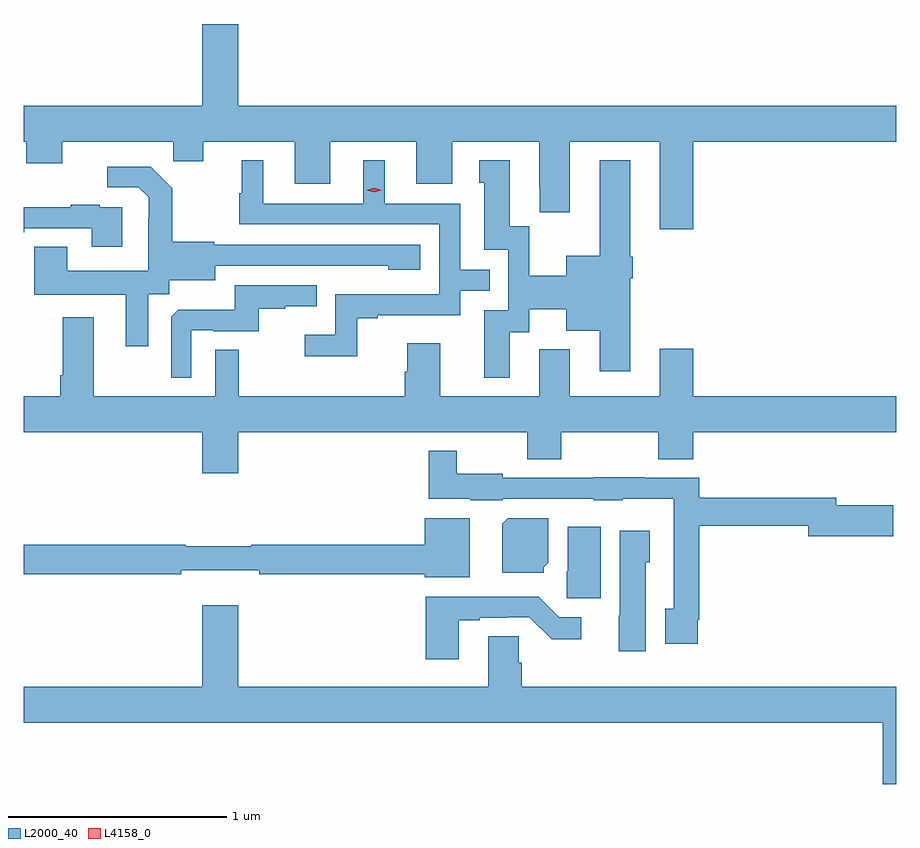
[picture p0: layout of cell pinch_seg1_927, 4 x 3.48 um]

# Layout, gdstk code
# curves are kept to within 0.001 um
import gdstk
lib = gdstk.Library(unit=1e-6, precision=1e-09)
def P(c, l, *ps):  # polygons
    for p in ps: c.add(gdstk.Polygon(p, *l))
L2000_40 = (2000, 40)
L4158_0 = (4158, 0)

pinch_seg1_927 = lib.new_cell('pinch_seg1_927')
P(pinch_seg1_927, L2000_40, [(167.258,559.724),(168.189,559.724),(168.189,559.888),(165.172,559.888),(165.172,560.263),(165.008,560.263),(165.008,559.888),(164.189,559.888),(164.189,559.724),(164.201,559.724),(164.201,559.625),(164.365,559.625),(164.365,559.724),(164.875,559.724),(164.875,559.634),(165.013,559.634),(165.013,559.724),(165.431,559.724),(165.431,559.53),(165.595,559.53),(165.595,559.724),(165.989,559.724),(165.989,559.53),(166.153,559.53),(166.153,559.724),(166.553,559.724),(166.553,559.513),(166.554,559.513),(166.554,559.401),(166.693,559.401),(166.693,559.724),(167.105,559.724),(167.105,559.323),(167.258,559.323)],
  [(166.417,558.85),(166.507,558.85),(166.507,558.956),(166.676,558.956),(166.676,558.857),(166.829,558.857),(166.829,558.672),(166.969,558.672),(166.969,559.097),(166.982,559.097),(166.982,559.197),(166.969,559.197),(166.969,559.639),(166.829,559.639),(166.829,559.201),(166.676,559.201),(166.676,559.108),(166.506,559.108),(166.506,559.335),(166.417,559.335),(166.417,559.639),(166.277,559.639),(166.277,559.536),(166.301,559.536),(166.301,559.227),(166.41,559.227),(166.41,558.951),(166.301,558.951),(166.301,558.642),(166.417,558.642)],
  [(165.717,558.915),(165.811,558.915),(165.811,558.927),(166.191,558.927),(166.191,559.041),(166.325,559.041),(166.325,559.137),(166.191,559.137),(166.191,559.44),(165.844,559.44),(165.844,559.639),(165.746,559.639),(165.746,559.44),(165.286,559.44),(165.286,559.639),(165.188,559.639),(165.188,559.488),(165.177,559.488),(165.177,559.344),(166.095,559.344),(166.095,559.023),(165.618,559.023),(165.618,558.838),(165.477,558.838),(165.477,558.74),(165.717,558.74)],
  [(164.761,559.024),(164.856,559.024),(164.856,559.088),(165.067,559.088),(165.067,559.155),(165.861,559.154),(165.861,559.136),(166.006,559.136),(166.006,559.251),(165.063,559.251),(165.063,559.264),(164.871,559.264),(164.871,559.509),(164.771,559.609),(164.571,559.609),(164.571,559.515),(164.715,559.515),(164.762,559.468),(164.762,559.373),(164.76,559.373),(164.76,559.132),(164.389,559.132),(164.389,559.241),(164.237,559.241),(164.237,559.022),(164.657,559.022),(164.657,558.786),(164.761,558.786)],
  [(164.641,559.422),(164.537,559.422),(164.537,559.435),(164.405,559.435),(164.405,559.424),(164.189,559.424),(164.189,559.308),(164.191,559.308),(164.191,559.326),(164.501,559.326),(164.501,559.242),(164.641,559.242)],
  [(164.958,558.858),(165.058,558.858),(165.058,558.855),(165.266,558.855),(165.266,558.957),(165.389,558.957),(165.389,558.968),(165.533,558.968),(165.533,559.065),(165.156,559.065),(165.156,558.953),(164.897,558.953),(164.865,558.921),(164.865,558.641),(164.958,558.641)],
  [(165.172,558.392),(166.498,558.392),(166.498,558.268),(166.653,558.268),(166.653,558.392),(167.098,558.392),(167.098,558.268),(167.258,558.268),(167.258,558.392),(168.189,558.392),(168.189,558.556),(167.258,558.556),(167.258,558.775),(167.105,558.775),(167.105,558.556),(166.693,558.556),(166.693,558.772),(166.553,558.772),(166.553,558.556),(166.099,558.556),(166.099,558.799),(165.947,558.799),(165.947,558.669),(165.935,558.669),(165.935,558.556),(165.175,558.556),(165.175,558.77),(165.066,558.77),(165.066,558.556),(164.509,558.556),(164.509,558.919),(164.369,558.919),(164.369,558.652),(164.357,558.652),(164.357,558.556),(164.189,558.556),(164.189,558.392),(165.008,558.392),(165.008,558.204),(165.172,558.204)],
  [(167.278,557.533),(167.285,557.533),(167.285,557.962),(167.786,557.962),(167.786,557.915),(168.175,557.915),(168.175,558.057),(167.914,558.057),(167.914,558.091),(167.285,558.091),(167.285,558.183),(167.035,558.183),(167.035,558.185),(166.803,558.185),(166.803,558.183),(166.386,558.183),(166.386,558.202),(166.174,558.202),(166.174,558.307),(166.045,558.307),(166.045,558.086),(166.236,558.086),(166.236,558.08),(166.386,558.08),(166.386,558.087),(166.803,558.087),(166.803,558.08),(166.935,558.08),(166.935,558.086),(167.169,558.086),(167.169,557.582),(167.129,557.582),(167.129,557.421),(167.278,557.421)],
  [(166.572,557.772),(166.594,557.794),(166.594,557.998),(166.408,557.998),(166.382,557.972),(166.382,557.747),(166.572,557.747)],
  [(166.234,557.998),(166.028,557.998),(166.028,557.876),(165.232,557.876),(165.232,557.869),(164.932,557.869),(164.932,557.876),(164.189,557.876),(164.189,557.74),(164.912,557.74),(164.912,557.759),(165.268,557.759),(165.268,557.74),(166.028,557.74),(166.028,557.726),(166.234,557.726)],
  [(166.834,557.959),(166.682,557.959),(166.682,557.754),(166.678,557.754),(166.678,557.631),(166.834,557.631)],
  [(167.041,557.796),(167.059,557.796),(167.059,557.941),(166.922,557.941),(166.922,557.55),(166.916,557.55),(166.916,557.388),(167.041,557.388)],
  [(166.183,557.529),(166.279,557.529),(166.279,557.541),(166.406,557.541),(166.406,557.544),(166.506,557.544),(166.609,557.442),(166.744,557.442),(166.744,557.544),(166.644,557.544),(166.55,557.638),(166.031,557.638),(166.031,557.352),(166.183,557.352)],
  [(168.189,557.224),(166.472,557.224),(166.472,557.334),(166.458,557.334),(166.458,557.456),(166.319,557.456),(166.319,557.224),(165.172,557.224),(165.172,557.599),(165.008,557.599),(165.008,557.224),(164.189,557.224),(164.189,557.06),(168.127,557.06),(168.127,556.779),(168.189,556.779)])
P(pinch_seg1_927, L4158_0, [(165.795,559.492),(165.76,559.502),(165.759,559.502),(165.76,559.502),(165.795,559.512),(165.83,559.502),(165.831,559.502),(165.83,559.502)])

lib.write_gds('pinch_seg1_927.gds')
